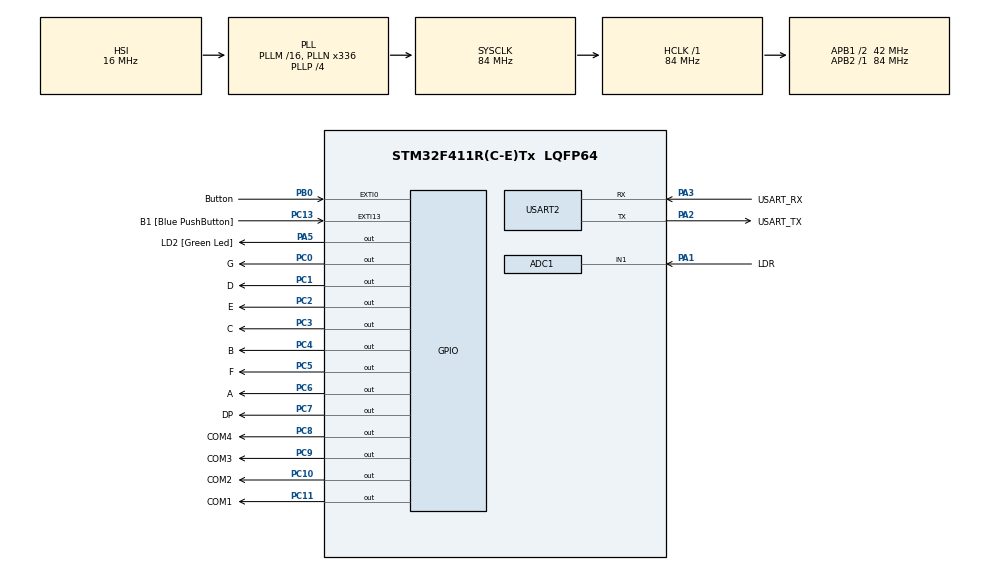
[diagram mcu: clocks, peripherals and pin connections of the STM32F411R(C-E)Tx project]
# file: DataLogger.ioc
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ADC1.Channel-1\#ChannelRegularConversion=ADC_CHANNEL_1
ADC1.ContinuousConvMode=ENABLE
ADC1.DMAContinuousRequests=ENABLE
ADC1.ExternalTrigConv=ADC_SOFTWARE_START
ADC1.NbrOfConversionFlag=1
ADC1.Rank-1\#ChannelRegularConversion=1
ADC1.SamplingTime-1\#ChannelRegularConversion=ADC_SAMPLETIME_3CYCLES
ADC1.master=1
Dma.ADC1.0.Direction=DMA_PERIPH_TO_MEMORY
Dma.ADC1.0.FIFOMode=DMA_FIFOMODE_DISABLE
Dma.ADC1.0.Instance=DMA2_Stream0
Dma.ADC1.0.MemDataAlignment=DMA_MDATAALIGN_HALFWORD
Dma.ADC1.0.MemInc=DMA_MINC_ENABLE
Dma.ADC1.0.Mode=DMA_CIRCULAR
Dma.ADC1.0.PeriphDataAlignment=DMA_PDATAALIGN_HALFWORD
Dma.ADC1.0.PeriphInc=DMA_PINC_DISABLE
Dma.ADC1.0.Priority=DMA_PRIORITY_LOW
Dma.Request0=ADC1
Dma.Request1=USART2_TX
Dma.USART2_TX.1.Direction=DMA_MEMORY_TO_PERIPH
Dma.USART2_TX.1.FIFOMode=DMA_FIFOMODE_DISABLE
Dma.USART2_TX.1.Instance=DMA1_Stream6
Dma.USART2_TX.1.MemDataAlignment=DMA_MDATAALIGN_BYTE
Dma.USART2_TX.1.MemInc=DMA_MINC_ENABLE
Dma.USART2_TX.1.Mode=DMA_CIRCULAR
Dma.USART2_TX.1.PeriphDataAlignment=DMA_PDATAALIGN_BYTE
Dma.USART2_TX.1.PeriphInc=DMA_PINC_DISABLE
Dma.USART2_TX.1.Priority=DMA_PRIORITY_LOW
Mcu.Family=STM32F4
Mcu.Name=STM32F411R(C-E)Tx
Mcu.Package=LQFP64
NVIC.ADC_IRQn=true\:0\:0\:false\:false\:true\:true\:true\:true
NVIC.DMA1_Stream6_IRQn=true\:0\:0\:false\:false\:true\:false\:true\:true
NVIC.DMA2_Stream0_IRQn=true\:0\:0\:false\:false\:true\:false\:true\:true
NVIC.EXTI0_IRQn=true\:0\:0\:false\:false\:true\:true\:true\:true
NVIC.PriorityGroup=NVIC_PRIORITYGROUP_0
NVIC.TIM1_BRK_TIM9_IRQn=true\:0\:0\:false\:false\:true\:true\:true\:true
NVIC.TIM1_TRG_COM_TIM11_IRQn=true\:0\:0\:false\:false\:true\:true\:true\:true
NVIC.TIM1_UP_TIM10_IRQn=true\:0\:0\:false\:false\:true\:true\:true\:true
NVIC.USART2_IRQn=true\:0\:0\:false\:false\:true\:true\:true\:true
PA1.GPIO_Label=LDR
PA1.Signal=ADCx_IN1
PA13.GPIO_Label=TMS
PA13.Mode=Serial_Wire
PA13.Signal=SYS_JTMS-SWDIO
PA14.GPIO_Label=TCK
PA14.Mode=Serial_Wire
PA14.Signal=SYS_JTCK-SWCLK
PA2.GPIO_Label=USART_TX
PA2.Mode=Asynchronous
PA2.Signal=USART2_TX
PA3.GPIO_Label=USART_RX
PA3.Mode=Asynchronous
PA3.Signal=USART2_RX
PA5.GPIO_Label=LD2 [Green Led]
PA5.Signal=GPIO_Output
PB0.GPIO_Label=Button
PB0.GPIO_ModeDefaultEXTI=GPIO_MODE_IT_FALLING
PB0.GPIO_PuPd=GPIO_PULLUP
PB0.Signal=GPXTI0
PB3.GPIO_Label=SWO
PB3.Signal=SYS_JTDO-SWO
PC0.GPIO_Label=G
PC0.Signal=GPIO_Output
PC1.GPIO_Label=D
PC1.Signal=GPIO_Output
PC10.GPIO_Label=COM2
PC10.Signal=GPIO_Output
PC11.GPIO_Label=COM1
PC11.Signal=GPIO_Output
PC13-ANTI_TAMP.GPIO_Label=B1 [Blue PushButton]
PC13-ANTI_TAMP.GPIO_ModeDefaultEXTI=GPIO_MODE_IT_FALLING
PC13-ANTI_TAMP.Signal=GPXTI13
PC14-OSC32_IN.Mode=LSE-External-Oscillator
PC14-OSC32_IN.Signal=RCC_OSC32_IN
PC15-OSC32_OUT.Mode=LSE-External-Oscillator
PC15-OSC32_OUT.Signal=RCC_OSC32_OUT
PC2.GPIO_Label=E
PC2.Signal=GPIO_Output
PC3.GPIO_Label=C
PC3.Signal=GPIO_Output
PC4.GPIO_Label=B
PC4.Signal=GPIO_Output
PC5.GPIO_Label=F
PC5.Signal=GPIO_Output
PC6.GPIO_Label=A
PC6.Signal=GPIO_Output
PC7.GPIO_Label=DP
PC7.Signal=GPIO_Output
PC8.GPIO_Label=COM4
PC8.Signal=GPIO_Output
PC9.GPIO_Label=COM3
PC9.Signal=GPIO_Output
PH0\ -\ OSC_IN.Mode=HSE-External-Clock-Source
PH0\ -\ OSC_IN.Signal=RCC_OSC_IN
PH1\ -\ OSC_OUT.Mode=HSE-External-Clock-Source
PH1\ -\ OSC_OUT.Signal=RCC_OSC_OUT
ProjectManager.HeapSize=0x200
ProjectManager.StackSize=0x400
ProjectManager.TargetToolchain=STM32CubeIDE
RCC.48MHZClocksFreq_Value=84000000
RCC.AHBFreq_Value=84000000
RCC.APB1CLKDivider=RCC_HCLK_DIV2
RCC.APB1Freq_Value=42000000
RCC.APB1TimFreq_Value=84000000
RCC.APB2Freq_Value=84000000
RCC.APB2TimFreq_Value=84000000
RCC.CortexFreq_Value=84000000
RCC.FLatency-AdvancedSettings=FLASH_LATENCY_2
RCC.HCLKFreq_Value=84000000
RCC.HSE_VALUE=8000000
RCC.HSI_VALUE=16000000
RCC.PLLN=336
RCC.PLLP=RCC_PLLP_DIV4
RCC.SYSCLKFreq_VALUE=84000000
RCC.SYSCLKSource=RCC_SYSCLKSOURCE_PLLCLK
RCC.VCOOutputFreq_Value=336000000
SH.ADCx_IN1.0=ADC1_IN1,IN1
TIM10.Period=10000-1
TIM10.Prescaler=83
TIM11.Period=1000 - 1
TIM11.Prescaler=83
TIM9.Period=1000-1
TIM9.Prescaler=83
USART2.VirtualMode=VM_ASYNC
VP_TIM10_VS_ClockSourceINT.Mode=Enable_Timer
VP_TIM11_VS_ClockSourceINT.Mode=Enable_Timer
VP_TIM9_VS_ClockSourceINT.Mode=Internal
board=NUCLEO-F411RE

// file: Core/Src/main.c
/* USER CODE BEGIN Header */
/**
  ******************************************************************************
  * @file           : main.c
  * @brief          : Main program body
  ******************************************************************************
  * @attention
  *
  * Copyright (c) 2024 STMicroelectronics.
  * All rights reserved.
  *
  * This software is licensed under terms that can be found in the LICENSE file
  * in the root directory of this software component.
  * If no LICENSE file comes with this software, it is provided AS-IS.
  *
  ******************************************************************************
  */
/* USER CODE END Header */
#include "main.h"

/* USER CODE BEGIN Includes */
#include "stdbool.h"
/* USER CODE END Includes */

ADC_HandleTypeDef hadc1;
DMA_HandleTypeDef hdma_adc1;

TIM_HandleTypeDef htim9;
TIM_HandleTypeDef htim10;
TIM_HandleTypeDef htim11;

UART_HandleTypeDef huart2;
DMA_HandleTypeDef hdma_usart2_tx;

void SystemClock_Config(void);
static void MX_GPIO_Init(void);
static void MX_DMA_Init(void);
static void MX_USART2_UART_Init(void);
static void MX_TIM11_Init(void);
static void MX_ADC1_Init(void);
static void MX_TIM10_Init(void);
static void MX_TIM9_Init(void);
/* USER CODE BEGIN PFP */

static float ADC2Pressure(uint16_t value);
static float ADC2Voltage(uint16_t value);
void Displayer();
void DecodeNumber(uint16_t number);
void DataLogger();
void DecodeNumber(uint16_t number);
void turnOffAllChannel();
void selectChannel(uint8_t channel);
void setOutput(uint8_t mask);
void displayNumber(uint8_t number);

/* USER CODE END PFP */

/* USER CODE BEGIN 0 */

//wysyłanie danch
volatile uint8_t dataLogger;
volatile uint8_t startTransmistonMessage;
volatile uint8_t endTransmistonMessage;
volatile uint8_t firstDataTransmission;

volatile uint16_t ADCValueDMA[1];
volatile uint16_t ADCValue;
volatile uint32_t milisec;

//obsługa wyświetlacza
volatile uint8_t displayCounter;
volatile uint8_t thousands;
volatile uint8_t hundreds;
volatile uint8_t tens;
volatile uint8_t units;

void HAL_GPIO_EXTI_Callback(uint16_t GPIO_Pin)
{
	static uint32_t prevTime = 0;
	uint32_t currTime = HAL_GetTick();

	if(GPIO_Pin == Button_Pin)
	{
		if(currTime - prevTime > 500)
		{
			prevTime = currTime;
			dataLogger = (dataLogger == 1) ? 0 : 1;

			switch(dataLogger)
			{
			case 0:
				endTransmistonMessage = 1;
				break;
			case 1:
				startTransmistonMessage = 1;
				break;
			default:
				startTransmistonMessage = 0;
				endTransmistonMessage = 0;
				break;
			}
		}
	}
}

void HAL_TIM_PeriodElapsedCallback(TIM_HandleTypeDef *htim)
{
	if(htim->Instance == TIM10)
	{
		ADCValue = ADCValueDMA[0];
		DataLogger();
	}

	if(htim->Instance == TIM11)
	{
		uint16_t pressure = (uint16_t) (ADC2Pressure(ADCValue) * 1000);
		DecodeNumber(pressure);
		Displayer();
	}

	if(htim->Instance == TIM9)
	{
		milisec++;
	}
}

static float ADC2Voltage(uint16_t value)
{
	return 3.3 * (float) value / (float) 4095;
}

static float ADC2Pressure(uint16_t value)
{
	return 3 * (float) value / (float) 4095;
}

void Displayer()
{
	if(displayCounter > 3)
	{
		displayCounter = 0;
	}

	displayCounter += 1;
	turnOffAllChannel();

	switch(displayCounter)
	{
	case 1:
		displayNumber(thousands);
		break;
	case 2:
		displayNumber(hundreds);
		break;
	case 3:
		displayNumber(tens);
		break;
	case 4:
		displayNumber(units);
		break;
	}
	selectChannel(displayCounter);
}

void DecodeNumber(uint16_t number)
{
	thousands  = (number / 1000); //niejawna konwersja z float na uint8_t
	hundreds  = (number / 100) % 10;
	tens  = (number / 10 ) % 10;
	units  = number % 10;
}

void turnOffAllChannel()
{
	  HAL_GPIO_WritePin(COM1_GPIO_Port, COM1_Pin, GPIO_PIN_SET);
	  HAL_GPIO_WritePin(COM2_GPIO_Port, COM2_Pin, GPIO_PIN_SET);
	  HAL_GPIO_WritePin(COM3_GPIO_Port, COM3_Pin, GPIO_PIN_SET);
	  HAL_GPIO_WritePin(COM4_GPIO_Port, COM4_Pin, GPIO_PIN_SET);
}

void selectChannel(uint8_t channel)
{
	  switch (channel)
	  {
	  case 1:
		  HAL_GPIO_WritePin(COM1_GPIO_Port, COM1_Pin, GPIO_PIN_RESET); // wybranie wyświetlacza poprzez ustawienie stanu niskiego
		  break;
	  case 2:
		  HAL_GPIO_WritePin(COM2_GPIO_Port, COM2_Pin, GPIO_PIN_RESET);
		  break;
	  case 3:
		  HAL_GPIO_WritePin(COM3_GPIO_Port, COM3_Pin, GPIO_PIN_RESET);
		  break;
	  case 4:
		  HAL_GPIO_WritePin(COM4_GPIO_Port, COM4_Pin, GPIO_PIN_RESET);
		  break;
	  }
}

void setOutput(uint8_t mask)
{
	 HAL_GPIO_WritePin(A_GPIO_Port, A_Pin, mask & 0x01); // zaświecenie diody poprzez ustawienie stanu zakodowanego
	 HAL_GPIO_WritePin(B_GPIO_Port, B_Pin, mask & 0x02); // w liczbie zapisanej binarnie. Dioda świeci się gdy jej
	 HAL_GPIO_WritePin(C_GPIO_Port, C_Pin, mask & 0x04); // stan jest ustawiony na wysoki.
	 HAL_GPIO_WritePin(D_GPIO_Port, D_Pin, mask & 0x08);
	 HAL_GPIO_WritePin(E_GPIO_Port, E_Pin, mask & 0x10);
	 HAL_GPIO_WritePin(F_GPIO_Port, F_Pin, mask & 0x20);
	 HAL_GPIO_WritePin(G_GPIO_Port, G_Pin, mask & 0x40);
}

void displayNumber(uint8_t number)
{
  /* funkcja wyswietlająca cyfrę za pomocą liczby
   zapisanej w sposób binarny w której zakodowano
   stan poszczególnych diód wyświetlacza 7-segmentowego */
	switch (number)
	{
	case 0:
		setOutput(0b0111111);
		break;
	case 1:
		setOutput(0b0000110);
		break;
	case 2:
		setOutput(0b1011011);
		break;
	case 3:
		setOutput(0b1001111);
		break;
	case 4:
		setOutput(0b1100110);
		break;
	case 5:
		setOutput(0b1101101);
		break;
	case 6:
		setOutput(0b1111101);
		break;
	case 7:
		setOutput(0b0000111);
		break;
	case 8:
		setOutput(0b1111111);
		break;
	case 9:
		setOutput(0b1100111);
		break;
	default:
		setOutput(0b1111001); // wyświetlenie litery "E" w pozostałych przypadkach
		break;
	}
}

void DataLogger()
{
	uint8_t size;
	uint8_t data[100];

	if(dataLogger == 0 && endTransmistonMessage == 0)
	{
		return;
	}

	if(dataLogger == 0)
	{
		if(endTransmistonMessage == 0)
		{
			return;
		}
		if(endTransmistonMessage == 1)
		{
			size = sprintf(data, "----------------- END ----------------- \n\r");
			endTransmistonMessage = 0;
		}
	}

	if (dataLogger == 1)
	{
		if(startTransmistonMessage == 0)
		{
			if(firstDataTransmission == 1)
			{
				milisec = 0;
				firstDataTransmission = 0;
			}

			float voltage = ADC2Voltage(ADCValue);
			float pressure = ADC2Pressure(ADCValue);
			size = sprintf(data, "time: %u ms, volatage: %.3f, pressure: %.3f \n\r", milisec, voltage, pressure);
		}
		if(startTransmistonMessage == 1)
		{
			size = sprintf(data, "----------------- START ----------------- \n\r");
			startTransmistonMessage = 0;
			firstDataTransmission = 1;
		}
	}

	HAL_UART_Transmit_DMA(&huart2, data, size);
}

void HAL_UART_TxCpltCallback(UART_HandleTypeDef *huart)
{
	if(huart->Instance == USART2)
	{
		HAL_UART_DMAStop(&huart2);
	}
}

/* USER CODE END 0 */

int main(void)
{

  /* MCU Configuration--------------------------------------------------------*/

  /* Reset of all peripherals, Initializes the Flash interface and the Systick. */
  HAL_Init();

  /* Configure the system clock */
  SystemClock_Config();

  /* Initialize all configured peripherals */
  MX_GPIO_Init();
  MX_DMA_Init();
  MX_USART2_UART_Init();
  MX_TIM11_Init();
  MX_ADC1_Init();
  MX_TIM10_Init();
  MX_TIM9_Init();
  /* USER CODE BEGIN 2 */

  HAL_TIM_Base_Start_IT(&htim11);
  HAL_TIM_Base_Start_IT(&htim10);
  HAL_TIM_Base_Start_IT(&htim9);

  /* USER CODE END 2 */

  /* Infinite loop */
  /* USER CODE BEGIN WHILE */
  while (1)
  {
	  HAL_ADC_Start_DMA(&hadc1, ADCValueDMA, 1);
    /* USER CODE END WHILE */

  }
}

void SystemClock_Config(void)
{
  RCC_OscInitTypeDef RCC_OscInitStruct = {0};
  RCC_ClkInitTypeDef RCC_ClkInitStruct = {0};

  /** Configure the main internal regulator output voltage
  */
  __HAL_RCC_PWR_CLK_ENABLE();
  __HAL_PWR_VOLTAGESCALING_CONFIG(PWR_REGULATOR_VOLTAGE_SCALE1);

  /** Initializes the RCC Oscillators according to the specified parameters
  * in the RCC_OscInitTypeDef structure.
  */
  RCC_OscInitStruct.OscillatorType = RCC_OSCILLATORTYPE_HSI;
  RCC_OscInitStruct.HSIState = RCC_HSI_ON;
  RCC_OscInitStruct.HSICalibrationValue = RCC_HSICALIBRATION_DEFAULT;
  RCC_OscInitStruct.PLL.PLLState = RCC_PLL_ON;
  RCC_OscInitStruct.PLL.PLLSource = RCC_PLLSOURCE_HSI;
  RCC_OscInitStruct.PLL.PLLM = 16;
  RCC_OscInitStruct.PLL.PLLN = 336;
  RCC_OscInitStruct.PLL.PLLP = RCC_PLLP_DIV4;
  RCC_OscInitStruct.PLL.PLLQ = 4;
  if (HAL_RCC_OscConfig(&RCC_OscInitStruct) != HAL_OK)
  {
    Error_Handler();
  }

  /** Initializes the CPU, AHB and APB buses clocks
  */
  RCC_ClkInitStruct.ClockType = RCC_CLOCKTYPE_HCLK|RCC_CLOCKTYPE_SYSCLK
                              |RCC_CLOCKTYPE_PCLK1|RCC_CLOCKTYPE_PCLK2;
  RCC_ClkInitStruct.SYSCLKSource = RCC_SYSCLKSOURCE_PLLCLK;
  RCC_ClkInitStruct.AHBCLKDivider = RCC_SYSCLK_DIV1;
  RCC_ClkInitStruct.APB1CLKDivider = RCC_HCLK_DIV2;
  RCC_ClkInitStruct.APB2CLKDivider = RCC_HCLK_DIV1;

  if (HAL_RCC_ClockConfig(&RCC_ClkInitStruct, FLASH_LATENCY_2) != HAL_OK)
  {
    Error_Handler();
  }
}

static void MX_ADC1_Init(void)
{

  ADC_ChannelConfTypeDef sConfig = {0};

  /** Configure the global features of the ADC (Clock, Resolution, Data Alignment and number of conversion)
  */
  hadc1.Instance = ADC1;
  hadc1.Init.ClockPrescaler = ADC_CLOCK_SYNC_PCLK_DIV4;
  hadc1.Init.Resolution = ADC_RESOLUTION_12B;
  hadc1.Init.ScanConvMode = DISABLE;
  hadc1.Init.ContinuousConvMode = ENABLE;
  hadc1.Init.DiscontinuousConvMode = DISABLE;
  hadc1.Init.ExternalTrigConvEdge = ADC_EXTERNALTRIGCONVEDGE_NONE;
  hadc1.Init.ExternalTrigConv = ADC_SOFTWARE_START;
  hadc1.Init.DataAlign = ADC_DATAALIGN_RIGHT;
  hadc1.Init.NbrOfConversion = 1;
  hadc1.Init.DMAContinuousRequests = ENABLE;
  hadc1.Init.EOCSelection = ADC_EOC_SINGLE_CONV;
  if (HAL_ADC_Init(&hadc1) != HAL_OK)
  {
    Error_Handler();
  }

  /** Configure for the selected ADC regular channel its corresponding rank in the sequencer and its sample time.
  */
  sConfig.Channel = ADC_CHANNEL_1;
  sConfig.Rank = 1;
  sConfig.SamplingTime = ADC_SAMPLETIME_3CYCLES;
  if (HAL_ADC_ConfigChannel(&hadc1, &sConfig) != HAL_OK)
  {
    Error_Handler();
  }

}

static void MX_TIM9_Init(void)
{

  TIM_ClockConfigTypeDef sClockSourceConfig = {0};

  htim9.Instance = TIM9;
  htim9.Init.Prescaler = 83;
  htim9.Init.CounterMode = TIM_COUNTERMODE_UP;
  htim9.Init.Period = 1000-1;
  htim9.Init.ClockDivision = TIM_CLOCKDIVISION_DIV1;
  htim9.Init.AutoReloadPreload = TIM_AUTORELOAD_PRELOAD_DISABLE;
  if (HAL_TIM_Base_Init(&htim9) != HAL_OK)
  {
    Error_Handler();
  }
  sClockSourceConfig.ClockSource = TIM_CLOCKSOURCE_INTERNAL;
  if (HAL_TIM_ConfigClockSource(&htim9, &sClockSourceConfig) != HAL_OK)
  {
    Error_Handler();
  }

}

static void MX_TIM10_Init(void)
{

  htim10.Instance = TIM10;
  htim10.Init.Prescaler = 83;
  htim10.Init.CounterMode = TIM_COUNTERMODE_UP;
  htim10.Init.Period = 10000-1;
  htim10.Init.ClockDivision = TIM_CLOCKDIVISION_DIV1;
  htim10.Init.AutoReloadPreload = TIM_AUTORELOAD_PRELOAD_DISABLE;
  if (HAL_TIM_Base_Init(&htim10) != HAL_OK)
  {
    Error_Handler();
  }

}

static void MX_TIM11_Init(void)
{

  htim11.Instance = TIM11;
  htim11.Init.Prescaler = 83;
  htim11.Init.CounterMode = TIM_COUNTERMODE_UP;
  htim11.Init.Period = 1000 - 1;
  htim11.Init.ClockDivision = TIM_CLOCKDIVISION_DIV1;
  htim11.Init.AutoReloadPreload = TIM_AUTORELOAD_PRELOAD_DISABLE;
  if (HAL_TIM_Base_Init(&htim11) != HAL_OK)
  {
    Error_Handler();
  }

}

static void MX_USART2_UART_Init(void)
{

  huart2.Instance = USART2;
  huart2.Init.BaudRate = 115200;
  huart2.Init.WordLength = UART_WORDLENGTH_8B;
  huart2.Init.StopBits = UART_STOPBITS_1;
  huart2.Init.Parity = UART_PARITY_NONE;
  huart2.Init.Mode = UART_MODE_TX_RX;
  huart2.Init.HwFlowCtl = UART_HWCONTROL_NONE;
  huart2.Init.OverSampling = UART_OVERSAMPLING_16;
  if (HAL_UART_Init(&huart2) != HAL_OK)
  {
    Error_Handler();
  }

}

static void MX_DMA_Init(void)
{

  /* DMA controller clock enable */
  __HAL_RCC_DMA2_CLK_ENABLE();
  __HAL_RCC_DMA1_CLK_ENABLE();

  /* DMA interrupt init */
  /* DMA1_Stream6_IRQn interrupt configuration */
  HAL_NVIC_SetPriority(DMA1_Stream6_IRQn, 0, 0);
  HAL_NVIC_EnableIRQ(DMA1_Stream6_IRQn);
  /* DMA2_Stream0_IRQn interrupt configuration */
  HAL_NVIC_SetPriority(DMA2_Stream0_IRQn, 0, 0);
  HAL_NVIC_EnableIRQ(DMA2_Stream0_IRQn);

}

static void MX_GPIO_Init(void)
{
  GPIO_InitTypeDef GPIO_InitStruct = {0};

  /* GPIO Ports Clock Enable */
  __HAL_RCC_GPIOC_CLK_ENABLE();
  __HAL_RCC_GPIOH_CLK_ENABLE();
  __HAL_RCC_GPIOA_CLK_ENABLE();
  __HAL_RCC_GPIOB_CLK_ENABLE();

  /*Configure GPIO pin Output Level */
  HAL_GPIO_WritePin(GPIOC, G_Pin|D_Pin|E_Pin|C_Pin
                          |B_Pin|F_Pin|A_Pin|DP_Pin
                          |COM4_Pin|COM3_Pin|COM2_Pin|COM1_Pin, GPIO_PIN_RESET);

  /*Configure GPIO pin Output Level */
  HAL_GPIO_WritePin(LD2_GPIO_Port, LD2_Pin, GPIO_PIN_RESET);

  /*Configure GPIO pin : B1_Pin */
  GPIO_InitStruct.Pin = B1_Pin;
  GPIO_InitStruct.Mode = GPIO_MODE_IT_FALLING;
  GPIO_InitStruct.Pull = GPIO_NOPULL;
  HAL_GPIO_Init(B1_GPIO_Port, &GPIO_InitStruct);

  /*Configure GPIO pins : G_Pin D_Pin E_Pin C_Pin
                           B_Pin F_Pin A_Pin DP_Pin
                           COM4_Pin COM3_Pin COM2_Pin COM1_Pin */
  GPIO_InitStruct.Pin = G_Pin|D_Pin|E_Pin|C_Pin
                          |B_Pin|F_Pin|A_Pin|DP_Pin
                          |COM4_Pin|COM3_Pin|COM2_Pin|COM1_Pin;
  GPIO_InitStruct.Mode = GPIO_MODE_OUTPUT_PP;
  GPIO_InitStruct.Pull = GPIO_NOPULL;
  GPIO_InitStruct.Speed = GPIO_SPEED_FREQ_LOW;
  HAL_GPIO_Init(GPIOC, &GPIO_InitStruct);

  /*Configure GPIO pin : LD2_Pin */
  GPIO_InitStruct.Pin = LD2_Pin;
  GPIO_InitStruct.Mode = GPIO_MODE_OUTPUT_PP;
  GPIO_InitStruct.Pull = GPIO_NOPULL;
  GPIO_InitStruct.Speed = GPIO_SPEED_FREQ_LOW;
  HAL_GPIO_Init(LD2_GPIO_Port, &GPIO_InitStruct);

  /*Configure GPIO pin : Button_Pin */
  GPIO_InitStruct.Pin = Button_Pin;
  GPIO_InitStruct.Mode = GPIO_MODE_IT_FALLING;
  GPIO_InitStruct.Pull = GPIO_PULLUP;
  HAL_GPIO_Init(Button_GPIO_Port, &GPIO_InitStruct);

  /* EXTI interrupt init*/
  HAL_NVIC_SetPriority(EXTI0_IRQn, 0, 0);
  HAL_NVIC_EnableIRQ(EXTI0_IRQn);

}

void Error_Handler(void)
{
  __disable_irq();
  while (1)
  {
  }
}
